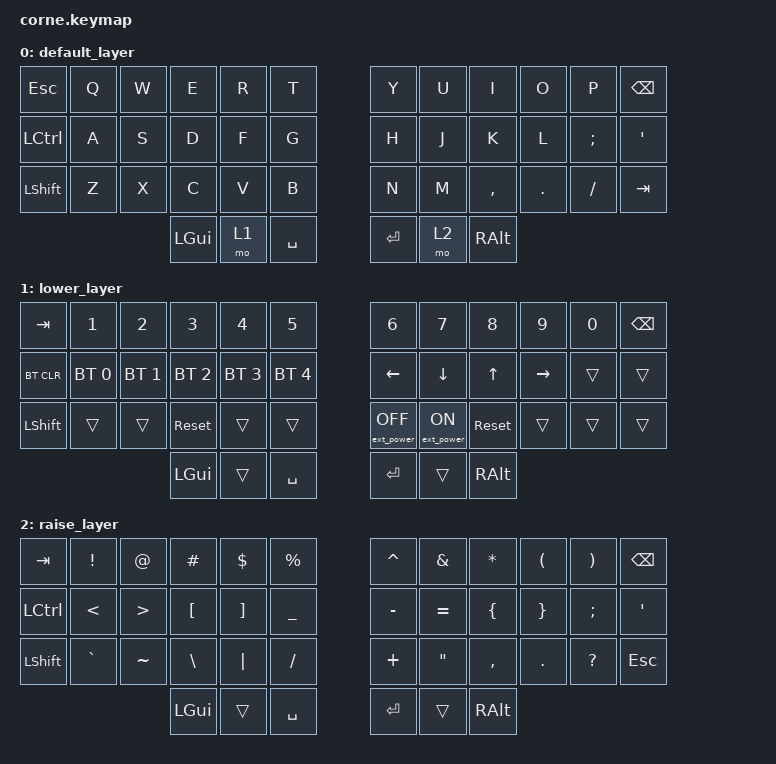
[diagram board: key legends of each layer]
/*
 * Copyright (c) 2020 The ZMK Contributors
 *
 * SPDX-License-Identifier: MIT
 */

#include <behaviors.dtsi>
#include <dt-bindings/zmk/keys.h>
#include <dt-bindings/zmk/bt.h>
#include <dt-bindings/zmk/ext_power.h>
#include <dt-bindings/zmk/reset.h>

/ {
        keymap {
                compatible = "zmk,keymap";

                default_layer {
// -----------------------------------------------------------------------------------------
// |  TAB |  Q  |  W  |  E  |  R  |  T  |   |  Y  |  U   |  I  |  O  |  P  | BSPC |
// | CTRL |  A  |  S  |  D  |  F  |  G  |   |  H  |  J   |  K  |  L  |  ;  |  '   |
// | SHFT |  Z  |  X  |  C  |  V  |  B  |   |  N  |  M   |  ,  |  .  |  /  | ESC  |
//                    | GUI | LWR | SPC |   | ENT | RSE  | ALT |
                        bindings = <
   &kp ESC   &kp Q &kp W &kp E &kp R &kp T   &kp Y &kp U  &kp I     &kp O   &kp P    &kp BSPC
   &kp LCTRL &kp A &kp S &kp D &kp F &kp G   &kp H &kp J  &kp K     &kp L   &kp SEMI &kp SQT
   &kp LSHFT &kp Z &kp X &kp C &kp V &kp B   &kp N &kp M  &kp COMMA &kp DOT &kp FSLH &kp TAB
                  &kp LGUI &mo 1 &kp SPACE   &kp RET &mo 2 &kp RALT
                        >;
                };
                lower_layer {
// -----------------------------------------------------------------------------------------
// |  TAB |  1  |  2  |  3  |  4  |  5  |   |  6  |  7  |  8  |  9  |  0  | BSPC |
// | BTCLR| BT1 | BT2 | BT3 | BT4 | BT5 |   | LFT | DWN |  UP | RGT |     |      |
// | SHFT |     |     |     |     |     |   |     |     |     |     |     |      |
//                    | GUI |     | SPC |   | ENT |     | ALT |
                        bindings = <
   &kp TAB    &kp N1       &kp N2       &kp N3       &kp N4       &kp N5         &kp N6   &kp N7   &kp N8 &kp N9    &kp N0 &kp BSPC
   &bt BT_CLR &bt BT_SEL 0 &bt BT_SEL 1 &bt BT_SEL 2 &bt BT_SEL 3 &bt BT_SEL 4   &kp LEFT &kp DOWN &kp UP &kp RIGHT &trans &trans
   &kp LSHFT  &trans       &trans       &sys_reset       &trans       &trans         &ext_power EP_OFF   &ext_power EP_ON   &sys_reset &trans    &trans &trans
                                    &kp LGUI     &trans       &kp SPACE      &kp RET  &trans   &kp RALT
                        >;
                };

                raise_layer {
// -----------------------------------------------------------------------------------------
// |  TAB |  !  |  @  |  #  |  $  |  %  |   |  ^  |  &  |  *  |  (  |  )  | BSPC |
// | CTRL |  <  |  >  |  [  |  ]  |  _  |   |  -  |  =  |  {  |  }  |  ;  |  '   |
// | SHFT |  `  |  ~  |  \  |  |  |  /  |   |  +  |  "  |  ,  |  .  |  ?  | ESC  |
//                    | GUI |     | SPC |   | ENT |     | ALT |
                        bindings = <
   &kp  TAB  &kp EXCL  &kp AT    &kp HASH &kp DLLR &kp PRCNT   &kp CARET &kp AMPS  &kp ASTRK &kp LPAR  &kp RPAR  &kp BSPC
   &kp LCTRL &kp LT    &kp GT    &kp LBKT &kp RBKT &kp UNDER   &kp MINUS &kp EQUAL &kp LBRC  &kp RBRC  &kp SEMI  &kp SQT
   &kp LSHFT &kp GRAVE &kp TILDE &kp BSLH &kp PIPE &kp FSLH    &kp PLUS  &kp DQT   &kp COMMA &kp DOT   &kp QMARK &kp ESC
                                &kp LGUI &trans   &kp SPACE   &kp RET   &trans    &kp RALT
                        >;
                };
        };
};
